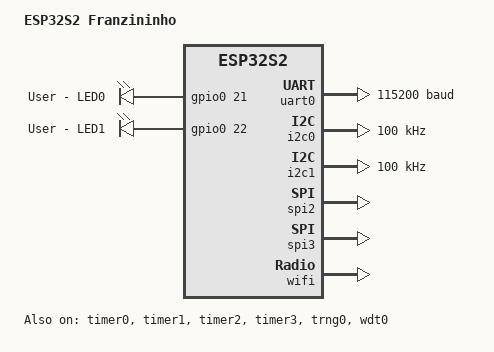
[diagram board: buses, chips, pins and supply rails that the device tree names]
/*
 * Copyright (c) 2022 Felipe Neves.
 *
 * SPDX-License-Identifier: Apache-2.0
 */

/dts-v1/;

#include <espressif/esp32s2/esp32s2_wroom.dtsi>
#include "esp32s2_franzininho-pinctrl.dtsi"
#include <espressif/partitions_0x1000_default.dtsi>

/ {
	model = "ESP32S2 Franzininho";
	compatible = "espressif,esp32s2";

	aliases {
		led0 = &user_led_0;
		led1 = &user_led_1;
		i2c-0 = &i2c0;
		watchdog0 = &wdt0;
	};

	chosen {
		zephyr,sram = &sram1;
		zephyr,console = &uart0;
		zephyr,shell-uart = &uart0;
		zephyr,flash = &flash0;
		zephyr,code-partition = &slot0_partition;
	};

	leds {
		compatible = "gpio-leds";

		user_led_0: led_0 {
			gpios = <&gpio0 21 GPIO_ACTIVE_HIGH>;
			label = "User - LED0";
		};

		user_led_1: led_1 {
			gpios = <&gpio0 22 GPIO_ACTIVE_HIGH>;
			label = "User - LED1";
		};
	};
};

&uart0 {
	status = "okay";
	current-speed = <115200>;
	pinctrl-0 = <&uart0_default>;
	pinctrl-names = "default";
};

&gpio0 {
	status = "okay";
};

&gpio1 {
	status = "okay";
};

&timer0 {
	status = "okay";
};

&timer1 {
	status = "okay";
};

&timer2 {
	status = "okay";
};

&timer3 {
	status = "okay";
};

&i2c0 {
	status = "okay";
	clock-frequency = <I2C_BITRATE_STANDARD>;
	pinctrl-0 = <&i2c0_default>;
	pinctrl-names = "default";
};

&i2c1 {
	clock-frequency = <I2C_BITRATE_STANDARD>;
	pinctrl-0 = <&i2c1_default>;
	pinctrl-names = "default";
};

&trng0 {
	status = "okay";
};

&spi2 {
	#address-cells = <1>;
	#size-cells = <0>;
	status = "okay";
	pinctrl-0 = <&spim2_default>;
	pinctrl-names = "default";
};

&spi3 {
	#address-cells = <1>;
	#size-cells = <0>;
	status = "okay";
	pinctrl-0 = <&spim3_default>;
	pinctrl-names = "default";
};

&wdt0 {
	status = "okay";
};

&wifi {
	status = "okay";
};
